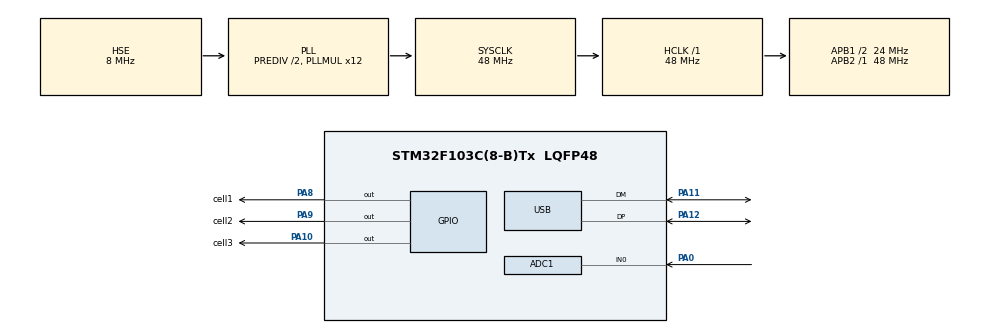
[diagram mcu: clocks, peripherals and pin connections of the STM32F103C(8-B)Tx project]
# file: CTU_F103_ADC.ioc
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ADC1.Channel-0\#ChannelRegularConversion=ADC_CHANNEL_0
ADC1.ContinuousConvMode=DISABLE
ADC1.DiscontinuousConvMode=DISABLE
ADC1.NbrOfConversion=1
ADC1.NbrOfConversionFlag=1
ADC1.Rank-0\#ChannelRegularConversion=1
ADC1.SamplingTime-0\#ChannelRegularConversion=ADC_SAMPLETIME_41CYCLES_5
ADC1.master=1
Dma.ADC1.0.Direction=DMA_PERIPH_TO_MEMORY
Dma.ADC1.0.Instance=DMA1_Channel1
Dma.ADC1.0.MemDataAlignment=DMA_MDATAALIGN_WORD
Dma.ADC1.0.MemInc=DMA_MINC_ENABLE
Dma.ADC1.0.Mode=DMA_NORMAL
Dma.ADC1.0.PeriphDataAlignment=DMA_PDATAALIGN_WORD
Dma.ADC1.0.PeriphInc=DMA_PINC_DISABLE
Dma.ADC1.0.Priority=DMA_PRIORITY_LOW
Dma.Request0=ADC1
Mcu.Family=STM32F1
Mcu.Name=STM32F103C(8-B)Tx
Mcu.Package=LQFP48
NVIC.DMA1_Channel1_IRQn=true\:0\:0\:false\:false\:true\:false\:true\:true
NVIC.PriorityGroup=NVIC_PRIORITYGROUP_4
NVIC.USB_LP_CAN1_RX0_IRQn=true\:0\:0\:false\:false\:true\:false\:true\:true
PA0-WKUP.Signal=ADCx_IN0
PA10.GPIO_Label=cell3
PA10.Signal=GPIO_Output
PA11.Mode=Device
PA11.Signal=USB_DM
PA12.Mode=Device
PA12.Signal=USB_DP
PA13.Mode=Serial_Wire
PA13.Signal=SYS_JTMS-SWDIO
PA14.Mode=Serial_Wire
PA14.Signal=SYS_JTCK-SWCLK
PA8.GPIO_Label=cell1
PA8.Signal=GPIO_Output
PA9.GPIO_Label=cell2
PA9.Signal=GPIO_Output
PD0-OSC_IN.Mode=HSE-External-Oscillator
PD0-OSC_IN.Signal=RCC_OSC_IN
PD1-OSC_OUT.Mode=HSE-External-Oscillator
PD1-OSC_OUT.Signal=RCC_OSC_OUT
ProjectManager.HeapSize=0x200
ProjectManager.StackSize=0x400
ProjectManager.TargetToolchain=STM32CubeIDE
RCC.ADCPresc=RCC_ADCPCLK2_DIV4
RCC.AHBFreq_Value=48000000
RCC.APB1CLKDivider=RCC_HCLK_DIV2
RCC.APB1Freq_Value=24000000
RCC.APB1TimFreq_Value=48000000
RCC.APB2Freq_Value=48000000
RCC.APB2TimFreq_Value=48000000
RCC.HCLKFreq_Value=48000000
RCC.HSEDivPLL=RCC_HSE_PREDIV_DIV2
RCC.PLLMUL=RCC_PLL_MUL12
RCC.PLLSourceVirtual=RCC_PLLSOURCE_HSE
RCC.SYSCLKFreq_VALUE=48000000
RCC.SYSCLKSource=RCC_SYSCLKSOURCE_PLLCLK
RCC.USBFreq_Value=48000000
SH.ADCx_IN0.0=ADC1_IN0,IN0
USB_DEVICE.CLASS_NAME_FS=CDC
USB_DEVICE.PRODUCT_STRING_CDC_FS=CTU_VCP
USB_DEVICE.VirtualMode=Cdc
USB_DEVICE.VirtualModeFS=Cdc_FS
VP_USB_DEVICE_VS_USB_DEVICE_CDC_FS.Mode=CDC_FS
board=custom

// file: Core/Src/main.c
/* USER CODE BEGIN Header */
/**
  ******************************************************************************
  * @file           : main.c
  * @brief          : Main program body
  ******************************************************************************
  * @attention
  *
  * Copyright (c) 2024 STMicroelectronics.
  * All rights reserved.
  *
  * This software is licensed under terms that can be found in the LICENSE file
  * in the root directory of this software component.
  * If no LICENSE file comes with this software, it is provided AS-IS.
  *
  ******************************************************************************
  */
/* USER CODE END Header */
#include "main.h"
#include "usb_device.h"

/* USER CODE BEGIN Includes */
#include "usbd_cdc_if.h"
/* USER CODE END Includes */

ADC_HandleTypeDef hadc1;
DMA_HandleTypeDef hdma_adc1;

/* USER CODE BEGIN PV */
uint16_t adc;

unsigned long TTransmit; //переменная для таймера передачи информации в ком порт
unsigned long TToggleCell; //переменная для таймера инвертирования ячейки

char Buf[250]; //буфер для передачи информации в ком порт

char status1[5]; //объявление переменных статусов ячеек
char status2[5];
char status3[5];
char status4[5];
char status5[5];

float voltage1; //объявление переменных напряжений ячеек
float voltage2;
float voltage3;
float voltage4;
float voltage5;

float cur1; //объявление переменных токов ячеек
float cur2;
float cur3;
float cur4;
float cur5;

int flg; //объявление флагов включения ячеек

uint8_t receive_buf[6]; //буфер для записи принятой через ком порт информации

/* USER CODE END PV */

void SystemClock_Config(void);
static void MX_GPIO_Init(void);
static void MX_DMA_Init(void);
static void MX_ADC1_Init(void);

int main(void)
{
  /* USER CODE BEGIN 1 */
	TTransmit = HAL_GetTick();
	TToggleCell = HAL_GetTick();

	//float voltage1 = 3.2514;
	voltage2 = 2.5928;
	voltage3 = 2.2314;
	voltage4 = 2.7889;
	voltage5 = 3.0456;

	cur1 = 1.1156;
	cur2 = 0.8928;
	cur3 = 2.2678;
	cur4 = 1.5634;
	cur5 = 0.4290;

	char status1[] = "OFF  ";
	char status2[] = "OFF  ";
	char status3[] = "OFF  ";
	char status4[] = "ERR  ";
	char status5[] = "ERR  ";

  /* USER CODE END 1 */

  /* MCU Configuration--------------------------------------------------------*/

  /* Reset of all peripherals, Initializes the Flash interface and the Systick. */
  HAL_Init();

  /* Configure the system clock */
  SystemClock_Config();

  /* Initialize all configured peripherals */
  MX_GPIO_Init();
  MX_DMA_Init();
  MX_ADC1_Init();
  MX_USB_DEVICE_Init();

  /* Infinite loop */
  /* USER CODE BEGIN WHILE */
  while (1)
  {
	  HAL_ADC_Start(&hadc1);
	  HAL_ADC_PollForConversion(&hadc1,HAL_MAX_DELAY);
	  adc = HAL_ADC_GetValue(&hadc1);
	  cell_selector((char *) receive_buf);
	  if (HAL_GetTick() - TToggleCell >= 1000){ //Этот цикл срабатывает каждую секунду
		  TToggleCell = HAL_GetTick();
		  cell_switch(flg, status1, status2, status3); //функция изменения состояния шим пина активной ячейки
	  }

	  if (HAL_GetTick() - TTransmit >= 10000){ //Этот цикл срабатывает каждые 10 секунд
		  TTransmit = HAL_GetTick();
	  	  voltage1 = ((float)adc / (float)4095) * 3.3;
	  	  Buf_compile(Buf, status1, status2, status3, status4, status5, voltage1, voltage2, voltage3, voltage4, voltage5, cur1, cur2, cur3, cur4, cur5); //Составление единого буфера из информации о ячейках
	  	  CDC_Transmit_FS((uint8_t *) Buf, strlen (Buf));  //Отправка данных в COM Port каждые 10 секунд
	  }
    /* USER CODE END WHILE */

  }
}

void SystemClock_Config(void)
{
  RCC_OscInitTypeDef RCC_OscInitStruct = {0};
  RCC_ClkInitTypeDef RCC_ClkInitStruct = {0};
  RCC_PeriphCLKInitTypeDef PeriphClkInit = {0};

  /** Initializes the RCC Oscillators according to the specified parameters
  * in the RCC_OscInitTypeDef structure.
  */
  RCC_OscInitStruct.OscillatorType = RCC_OSCILLATORTYPE_HSE;
  RCC_OscInitStruct.HSEState = RCC_HSE_ON;
  RCC_OscInitStruct.HSEPredivValue = RCC_HSE_PREDIV_DIV2;
  RCC_OscInitStruct.HSIState = RCC_HSI_ON;
  RCC_OscInitStruct.PLL.PLLState = RCC_PLL_ON;
  RCC_OscInitStruct.PLL.PLLSource = RCC_PLLSOURCE_HSE;
  RCC_OscInitStruct.PLL.PLLMUL = RCC_PLL_MUL12;
  if (HAL_RCC_OscConfig(&RCC_OscInitStruct) != HAL_OK)
  {
    Error_Handler();
  }

  /** Initializes the CPU, AHB and APB buses clocks
  */
  RCC_ClkInitStruct.ClockType = RCC_CLOCKTYPE_HCLK|RCC_CLOCKTYPE_SYSCLK
                              |RCC_CLOCKTYPE_PCLK1|RCC_CLOCKTYPE_PCLK2;
  RCC_ClkInitStruct.SYSCLKSource = RCC_SYSCLKSOURCE_PLLCLK;
  RCC_ClkInitStruct.AHBCLKDivider = RCC_SYSCLK_DIV1;
  RCC_ClkInitStruct.APB1CLKDivider = RCC_HCLK_DIV2;
  RCC_ClkInitStruct.APB2CLKDivider = RCC_HCLK_DIV1;

  if (HAL_RCC_ClockConfig(&RCC_ClkInitStruct, FLASH_LATENCY_1) != HAL_OK)
  {
    Error_Handler();
  }
  PeriphClkInit.PeriphClockSelection = RCC_PERIPHCLK_ADC|RCC_PERIPHCLK_USB;
  PeriphClkInit.AdcClockSelection = RCC_ADCPCLK2_DIV4;
  PeriphClkInit.UsbClockSelection = RCC_USBCLKSOURCE_PLL;
  if (HAL_RCCEx_PeriphCLKConfig(&PeriphClkInit) != HAL_OK)
  {
    Error_Handler();
  }
}

static void MX_ADC1_Init(void)
{

  ADC_ChannelConfTypeDef sConfig = {0};

  /** Common config
  */
  hadc1.Instance = ADC1;
  hadc1.Init.ScanConvMode = ADC_SCAN_DISABLE;
  hadc1.Init.ContinuousConvMode = DISABLE;
  hadc1.Init.DiscontinuousConvMode = DISABLE;
  hadc1.Init.ExternalTrigConv = ADC_SOFTWARE_START;
  hadc1.Init.DataAlign = ADC_DATAALIGN_RIGHT;
  hadc1.Init.NbrOfConversion = 1;
  if (HAL_ADC_Init(&hadc1) != HAL_OK)
  {
    Error_Handler();
  }

  /** Configure Regular Channel
  */
  sConfig.Channel = ADC_CHANNEL_0;
  sConfig.Rank = ADC_REGULAR_RANK_1;
  sConfig.SamplingTime = ADC_SAMPLETIME_41CYCLES_5;
  if (HAL_ADC_ConfigChannel(&hadc1, &sConfig) != HAL_OK)
  {
    Error_Handler();
  }

}

static void MX_DMA_Init(void)
{

  /* DMA controller clock enable */
  __HAL_RCC_DMA1_CLK_ENABLE();

  /* DMA interrupt init */
  /* DMA1_Channel1_IRQn interrupt configuration */
  HAL_NVIC_SetPriority(DMA1_Channel1_IRQn, 0, 0);
  HAL_NVIC_EnableIRQ(DMA1_Channel1_IRQn);

}

static void MX_GPIO_Init(void)
{
  GPIO_InitTypeDef GPIO_InitStruct = {0};

  /* GPIO Ports Clock Enable */
  __HAL_RCC_GPIOD_CLK_ENABLE();
  __HAL_RCC_GPIOA_CLK_ENABLE();

  /*Configure GPIO pin Output Level */
  HAL_GPIO_WritePin(GPIOA, cell1_Pin|cell2_Pin|cell3_Pin, GPIO_PIN_RESET);

  /*Configure GPIO pins : cell1_Pin cell2_Pin cell3_Pin */
  GPIO_InitStruct.Pin = cell1_Pin|cell2_Pin|cell3_Pin;
  GPIO_InitStruct.Mode = GPIO_MODE_OUTPUT_PP;
  GPIO_InitStruct.Pull = GPIO_NOPULL;
  GPIO_InitStruct.Speed = GPIO_SPEED_FREQ_LOW;
  HAL_GPIO_Init(GPIOA, &GPIO_InitStruct);

}

void Error_Handler(void)
{
  __disable_irq();
  while (1)
  {
  }
}
